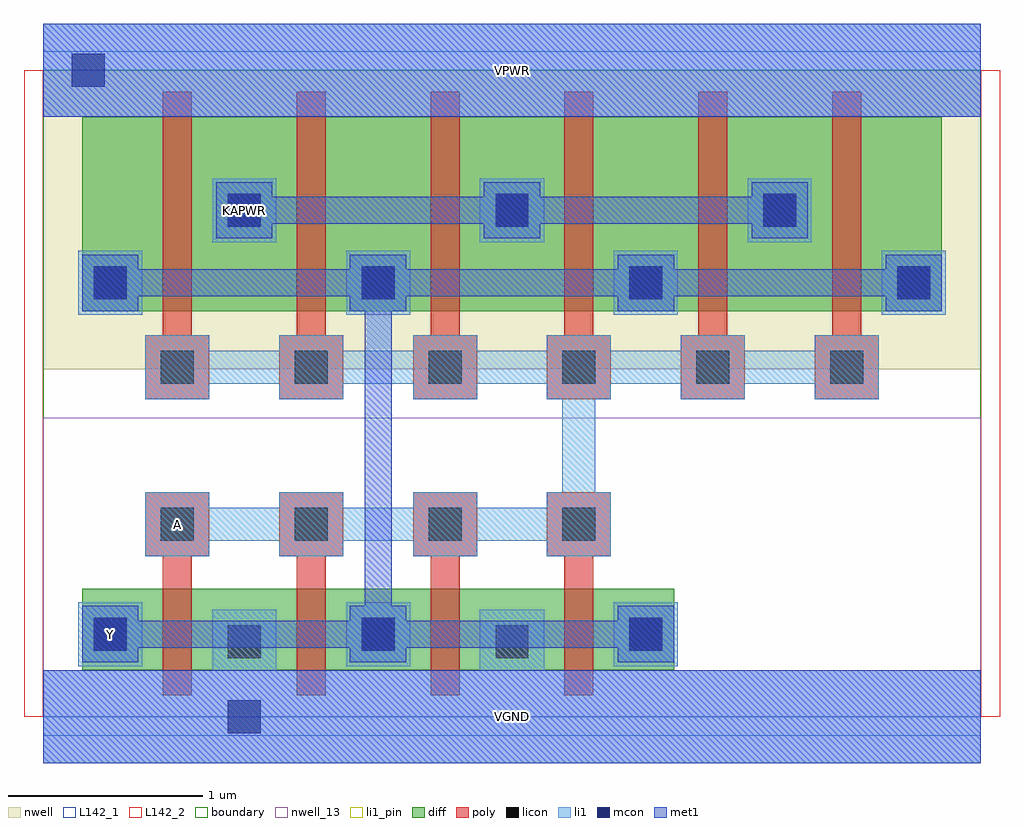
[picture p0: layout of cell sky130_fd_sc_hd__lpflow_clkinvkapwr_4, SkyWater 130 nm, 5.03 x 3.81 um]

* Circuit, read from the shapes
.subckt sky130_fd_sc_hd__lpflow_clkinvkapwr_4 A KAPWR VGND VPWR Y
XM1 VGND A Y VSUBS sky130_fd_pr__nfet_01v8 w=0.42 l=0.15 m=4
XM2 KAPWR A Y n1 sky130_fd_pr__pfet_01v8 w=1 l=0.15 m=6
.ends

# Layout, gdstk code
import gdstk
lib = gdstk.Library(unit=1e-6, precision=1e-09)
def R(c, l, rs):  # rectangles x0, y0, x1, y1
    for r in rs: c.add(gdstk.rectangle(r[:2], r[2:], *l))
def A(c, l, x, y, w, h, nx, ny, dx, dy):  # array of equal rectangles
    R(c, l, [(x+i*dx, y+j*dy, x+i*dx+w, y+j*dy+h) for i in range(nx) for j in range(ny)])
def P(c, l, *ps):  # polygons
    for p in ps: c.add(gdstk.Polygon(p, *l))
nwell_13 = (64, 13)
nwell = (64, 20)
diff = (65, 20)
poly = (66, 20)
licon = (66, 44)
li1_pin = (67, 16)
li1 = (67, 20)
mcon = (67, 44)
met1 = (68, 20)
L142_1 = (142, 1)
L142_2 = (142, 2)
boundary = (235, 4)

sky130_fd_sc_hd__lpflow_ = lib.new_cell('sky130_fd_sc_hd__lpflow_clkinvkapwr_4')
R(sky130_fd_sc_hd__lpflow_, nwell_13, [(0,0,4.83,1.54)])
R(sky130_fd_sc_hd__lpflow_, nwell, [(0,1.79,4.83,3.33)])
A(sky130_fd_sc_hd__lpflow_, diff, 0.615, 0.24, 0.69, 0.42, 3, 1, 0.69, 0)
A(sky130_fd_sc_hd__lpflow_, diff, 0.615, 2.09, 0.69, 1, 5, 1, 0.69, 0)
R(sky130_fd_sc_hd__lpflow_, diff, [(0.2,0.24,3.25,0.66), (0.2,0.24,0.615,0.66), (2.685,0.24,3.25,0.66), (0.2,2.09,4.63,3.09), (0.2,2.09,0.615,3.09), (4.065,2.09,4.63,3.09)])
P(sky130_fd_sc_hd__lpflow_, poly, [(0.615,0.11),(0.615,0.825),(0.525,0.825),(0.525,1.155),(0.855,1.155),(0.855,0.825),(0.765,0.825),(0.765,0.11)],
  [(1.305,0.11),(1.305,0.825),(1.215,0.825),(1.215,1.155),(1.545,1.155),(1.545,0.825),(1.455,0.825),(1.455,0.11)],
  [(1.995,0.11),(1.995,0.825),(1.905,0.825),(1.905,1.155),(2.235,1.155),(2.235,0.825),(2.145,0.825),(2.145,0.11)],
  [(2.685,0.11),(2.685,0.825),(2.595,0.825),(2.595,1.155),(2.925,1.155),(2.925,0.825),(2.835,0.825),(2.835,0.11)],
  [(0.525,1.635),(0.525,1.965),(0.615,1.965),(0.615,3.22),(0.765,3.22),(0.765,1.965),(0.855,1.965),(0.855,1.635)],
  [(1.215,1.635),(1.215,1.965),(1.305,1.965),(1.305,3.22),(1.455,3.22),(1.455,1.965),(1.545,1.965),(1.545,1.635)],
  [(1.905,1.635),(1.905,1.965),(1.995,1.965),(1.995,3.22),(2.145,3.22),(2.145,1.965),(2.235,1.965),(2.235,1.635)],
  [(2.595,1.635),(2.595,1.965),(2.685,1.965),(2.685,3.22),(2.835,3.22),(2.835,1.965),(2.925,1.965),(2.925,1.635)],
  [(3.285,1.635),(3.285,1.965),(3.375,1.965),(3.375,3.22),(3.525,3.22),(3.525,1.965),(3.615,1.965),(3.615,1.635)],
  [(3.975,1.635),(3.975,1.965),(4.065,1.965),(4.065,3.22),(4.215,3.22),(4.215,1.965),(4.305,1.965),(4.305,1.635)])
A(sky130_fd_sc_hd__lpflow_, licon, 0.26, 0.34, 0.17, 0.17, 3, 1, 1.38, 0)
A(sky130_fd_sc_hd__lpflow_, licon, 0.605, 0.905, 0.17, 0.17, 4, 1, 0.69, 0)
A(sky130_fd_sc_hd__lpflow_, licon, 0.605, 1.715, 0.17, 0.17, 6, 1, 0.69, 0)
A(sky130_fd_sc_hd__lpflow_, licon, 0.26, 2.15, 0.17, 0.17, 4, 1, 1.38, 0)
A(sky130_fd_sc_hd__lpflow_, licon, 0.95, 2.525, 0.17, 0.17, 3, 1, 1.38, 0)
R(sky130_fd_sc_hd__lpflow_, licon, [(0.95,0.3,1.12,0.47), (2.33,0.3,2.5,0.47)])
R(sky130_fd_sc_hd__lpflow_, li1_pin, [(0,-0.24,4.83,0.24), (0.18,0.26,0.51,0.59), (0.87,2.445,1.2,2.775), (0,3.09,4.83,3.57)])
P(sky130_fd_sc_hd__lpflow_, li1_pin, [(0.525,0.825),(0.525,1.155),(0.855,1.155),(0.855,1.075),(1.215,1.075),(1.215,1.155),(1.545,1.155),(1.545,1.075),(1.905,1.075),(1.905,1.155),(2.235,1.155),(2.235,1.075),(2.595,1.075),(2.595,1.155),(2.675,1.155),(2.675,1.635),(2.595,1.635),(2.595,1.715),(2.235,1.715),(2.235,1.635),(1.905,1.635),(1.905,1.715),(1.545,1.715),(1.545,1.635),(1.215,1.635),(1.215,1.715),(0.855,1.715),(0.855,1.635),(0.525,1.635),(0.525,1.965),(0.855,1.965),(0.855,1.885),(1.215,1.885),(1.215,1.965),(1.545,1.965),(1.545,1.885),(1.905,1.885),(1.905,1.965),(2.235,1.965),(2.235,1.885),(2.595,1.885),(2.595,1.965),(2.925,1.965),(2.925,1.885),(3.285,1.885),(3.285,1.965),(3.615,1.965),(3.615,1.885),(3.975,1.885),(3.975,1.965),(4.305,1.965),(4.305,1.635),(3.975,1.635),(3.975,1.715),(3.615,1.715),(3.615,1.635),(3.285,1.635),(3.285,1.715),(2.925,1.715),(2.925,1.635),(2.845,1.635),(2.845,1.155),(2.925,1.155),(2.925,0.825),(2.595,0.825),(2.595,0.905),(2.235,0.905),(2.235,0.825),(1.905,0.825),(1.905,0.905),(1.545,0.905),(1.545,0.825),(1.215,0.825),(1.215,0.905),(0.855,0.905),(0.855,0.825)])
A(sky130_fd_sc_hd__lpflow_, li1, 0.18, 0.26, 0.33, 0.33, 3, 1, 1.38, 0)
A(sky130_fd_sc_hd__lpflow_, li1, 0.18, 2.07, 0.33, 0.33, 4, 1, 1.38, 0)
A(sky130_fd_sc_hd__lpflow_, li1, 0.87, 2.445, 0.33, 0.33, 3, 1, 1.38, 0)
R(sky130_fd_sc_hd__lpflow_, li1, [(0,3.09,4.83,3.57)])
P(sky130_fd_sc_hd__lpflow_, li1, [(0,-0.24),(0,0.24),(0.87,0.24),(0.87,0.55),(1.2,0.55),(1.2,0.24),(2.25,0.24),(2.25,0.55),(2.58,0.55),(2.58,0.24),(4.83,0.24),(4.83,-0.24)],
  [(0.525,0.825),(0.525,1.155),(0.855,1.155),(0.855,1.075),(1.215,1.075),(1.215,1.155),(1.545,1.155),(1.545,1.075),(1.905,1.075),(1.905,1.155),(2.235,1.155),(2.235,1.075),(2.595,1.075),(2.595,1.155),(2.675,1.155),(2.675,1.635),(2.595,1.635),(2.595,1.715),(2.235,1.715),(2.235,1.635),(1.905,1.635),(1.905,1.715),(1.545,1.715),(1.545,1.635),(1.215,1.635),(1.215,1.715),(0.855,1.715),(0.855,1.635),(0.525,1.635),(0.525,1.965),(0.855,1.965),(0.855,1.885),(1.215,1.885),(1.215,1.965),(1.545,1.965),(1.545,1.885),(1.905,1.885),(1.905,1.965),(2.235,1.965),(2.235,1.885),(2.595,1.885),(2.595,1.965),(2.925,1.965),(2.925,1.885),(3.285,1.885),(3.285,1.965),(3.615,1.965),(3.615,1.885),(3.975,1.885),(3.975,1.965),(4.305,1.965),(4.305,1.635),(3.975,1.635),(3.975,1.715),(3.615,1.715),(3.615,1.635),(3.285,1.635),(3.285,1.715),(2.925,1.715),(2.925,1.635),(2.845,1.635),(2.845,1.155),(2.925,1.155),(2.925,0.825),(2.595,0.825),(2.595,0.905),(2.235,0.905),(2.235,0.825),(1.905,0.825),(1.905,0.905),(1.545,0.905),(1.545,0.825),(1.215,0.825),(1.215,0.905),(0.855,0.905),(0.855,0.825)])
A(sky130_fd_sc_hd__lpflow_, mcon, 0.26, 0.34, 0.17, 0.17, 3, 1, 1.38, 0)
A(sky130_fd_sc_hd__lpflow_, mcon, 0.26, 2.15, 0.17, 0.17, 4, 1, 1.38, 0)
A(sky130_fd_sc_hd__lpflow_, mcon, 0.95, 2.525, 0.17, 0.17, 3, 1, 1.38, 0)
R(sky130_fd_sc_hd__lpflow_, mcon, [(0.95,-0.085,1.12,0.085), (0.145,3.245,0.315,3.415)])
R(sky130_fd_sc_hd__lpflow_, met1, [(0,-0.24,4.83,0.24), (0,3.09,4.83,3.57)])
P(sky130_fd_sc_hd__lpflow_, met1, [(0.2,0.28),(0.2,0.57),(0.49,0.57),(0.49,0.495),(1.58,0.495),(1.58,0.57),(1.655,0.57),(1.655,2.09),(1.58,2.09),(1.58,2.165),(0.49,2.165),(0.49,2.09),(0.2,2.09),(0.2,2.38),(0.49,2.38),(0.49,2.305),(1.58,2.305),(1.58,2.38),(1.87,2.38),(1.87,2.305),(2.96,2.305),(2.96,2.38),(3.25,2.38),(3.25,2.305),(4.34,2.305),(4.34,2.38),(4.63,2.38),(4.63,2.09),(4.34,2.09),(4.34,2.165),(3.25,2.165),(3.25,2.09),(2.96,2.09),(2.96,2.165),(1.87,2.165),(1.87,2.09),(1.795,2.09),(1.795,0.57),(1.87,0.57),(1.87,0.495),(2.96,0.495),(2.96,0.57),(3.25,0.57),(3.25,0.28),(2.96,0.28),(2.96,0.355),(1.87,0.355),(1.87,0.28),(1.58,0.28),(1.58,0.355),(0.49,0.355),(0.49,0.28)],
  [(0.89,2.465),(0.89,2.755),(1.18,2.755),(1.18,2.68),(2.27,2.68),(2.27,2.755),(2.56,2.755),(2.56,2.68),(3.65,2.68),(3.65,2.755),(3.94,2.755),(3.94,2.465),(3.65,2.465),(3.65,2.54),(2.56,2.54),(2.56,2.465),(2.27,2.465),(2.27,2.54),(1.18,2.54),(1.18,2.465)])
R(sky130_fd_sc_hd__lpflow_, L142_1, [(0,-0.1,4.83,0), (0,3.33,4.83,3.43)])
R(sky130_fd_sc_hd__lpflow_, L142_2, [(-0.1,0,0,3.33), (4.83,0,4.93,3.33)])
R(sky130_fd_sc_hd__lpflow_, boundary, [(0,0,4.83,3.33)])
sky130_fd_sc_hd__lpflow_.add(gdstk.Label('Y', (0.345,0.425), layer=67, texttype=5))
sky130_fd_sc_hd__lpflow_.add(gdstk.Label('KAPWR', (1.035,2.61), layer=67, texttype=5))
sky130_fd_sc_hd__lpflow_.add(gdstk.Label('A', (0.69,0.99), layer=67, texttype=5))
sky130_fd_sc_hd__lpflow_.add(gdstk.Label('VGND', (2.415,0), layer=67, texttype=5))
sky130_fd_sc_hd__lpflow_.add(gdstk.Label('VPWR', (2.415,3.33), layer=67, texttype=5))
sky130_fd_sc_hd__lpflow_.add(gdstk.Label('VGND', (2.415,0), layer=68, texttype=5))
sky130_fd_sc_hd__lpflow_.add(gdstk.Label('VPWR', (2.415,3.33), layer=68, texttype=5))

lib.write_gds('sky130_fd_sc_hd__lpflow_clkinvkapwr_4.gds')
